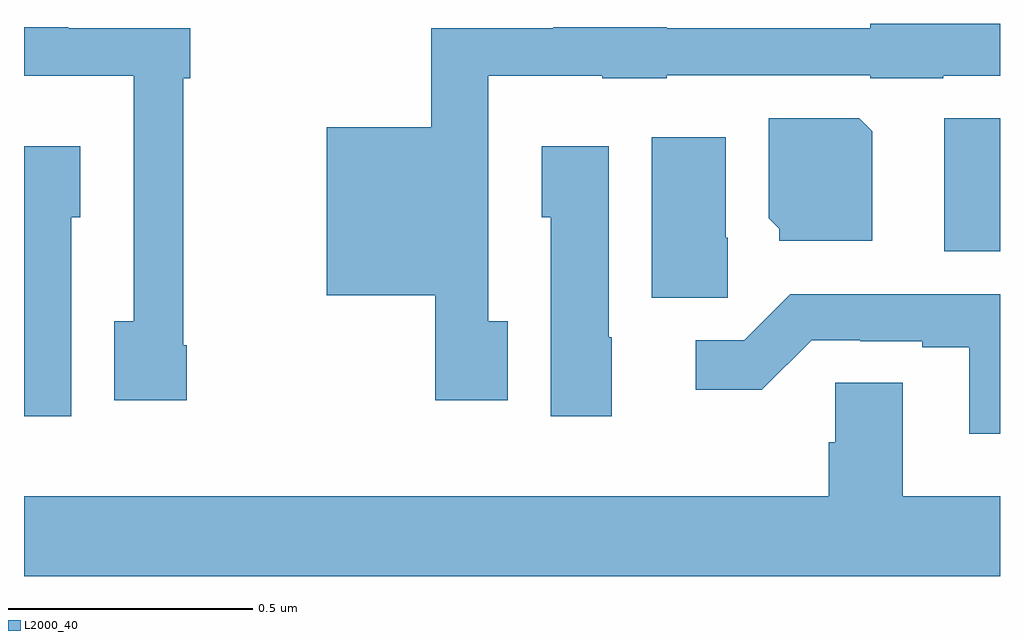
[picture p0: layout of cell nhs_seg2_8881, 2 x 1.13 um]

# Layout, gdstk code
import gdstk
lib = gdstk.Library(unit=1e-6, precision=1e-09)
def R(c, l, rs):  # rectangles x0, y0, x1, y1
    for r in rs: c.add(gdstk.rectangle(r[:2], r[2:], *l))
def P(c, l, *ps):  # polygons
    for p in ps: c.add(gdstk.Polygon(p, *l))
L2000_40 = (2000, 40)

nhs_seg2_8881 = lib.new_cell('nhs_seg2_8881')
R(nhs_seg2_8881, L2000_40, [(223.886,616.334,224,616.606)])
P(nhs_seg2_8881, L2000_40, [(222.991,616.19),(222.951,616.19),(222.951,616.694),(223.185,616.694),(223.185,616.688),(223.317,616.688),(223.317,616.695),(223.734,616.695),(223.734,616.688),(223.884,616.688),(223.884,616.694),(224,616.694),(224,616.8),(223.734,616.8),(223.734,616.791),(223.317,616.791),(223.317,616.793),(223.085,616.793),(223.085,616.791),(222.835,616.791),(222.835,616.588),(222.62,616.588),(222.62,616.244),(222.843,616.244),(222.843,616.029),(222.991,616.029)],
  [(222.334,616.141),(222.326,616.141),(222.326,616.688),(222.341,616.688),(222.341,616.791),(222.091,616.791),(222.091,616.793),(222,616.793),(222,616.694),(222.225,616.694),(222.225,616.19),(222.185,616.19),(222.185,616.029),(222.334,616.029)],
  [(223.738,616.58),(223.712,616.606),(223.526,616.606),(223.526,616.402),(223.548,616.38),(223.548,616.355),(223.738,616.355)],
  [(223.442,616.362),(223.438,616.362),(223.438,616.567),(223.286,616.567),(223.286,616.239),(223.442,616.239)],
  [(223.204,616.158),(223.198,616.158),(223.198,616.549),(223.061,616.549),(223.061,616.404),(223.079,616.404),(223.079,615.996),(223.204,615.996)],
  [(222.097,616.404),(222.115,616.404),(222.115,616.549),(222,616.549),(222,615.996),(222.097,615.996)],
  [(224,616.246),(223.57,616.246),(223.476,616.152),(223.377,616.152),(223.377,616.05),(223.512,616.05),(223.614,616.152),(223.714,616.152),(223.714,616.149),(223.841,616.149),(223.841,616.137),(223.937,616.137),(223.937,615.96),(224,615.96)],
  [(224,615.832),(223.801,615.832),(223.801,616.064),(223.662,616.064),(223.662,615.942),(223.649,615.942),(223.649,615.832),(222,615.832),(222,615.668),(224,615.668)])

lib.write_gds('nhs_seg2_8881.gds')
